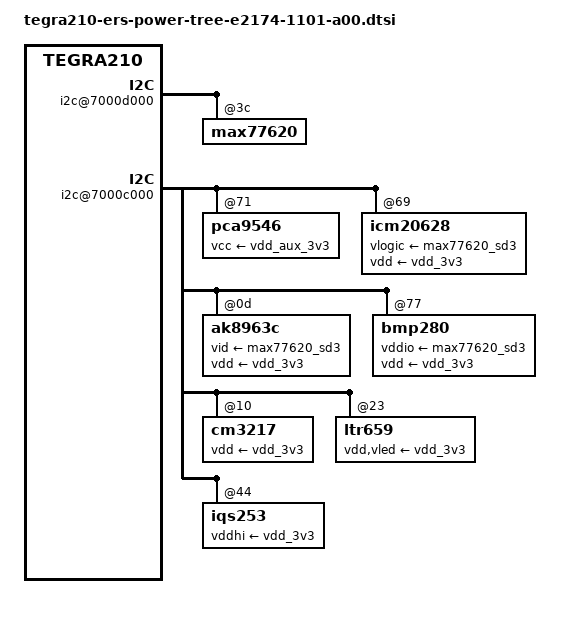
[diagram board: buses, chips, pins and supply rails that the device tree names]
/*
 * Copyright (c) 2014, NVIDIA CORPORATION.  All rights reserved.
 *
 * This program is free software; you can redistribute it and/or modify
 * it under the terms of the GNU General Public License as published by
 * the Free Software Foundation; either version 2 of the License, or
 * (at your option) any later version.
 *
 * This program is distributed in the hope that it will be useful, but WITHOUT
 * ANY WARRANTY; without even the implied warranty of MERCHANTABILITY or
 * FITNESS FOR A PARTICULAR PURPOSE.  See the GNU General Public License for
 * more details.
 *
 * You should have received a copy of the GNU General Public License along
 * with this program; if not, write to the Free Software Foundation, Inc.,
 * 51 Franklin Street, Fifth Floor, Boston, MA  02110-1301, USA.
 */

#include "tegra210-ers-pmic-e2174-1101-a00.dtsi"
#include "tegra210-ers-fixed-e2174-1101-a00.dtsi"
#include "tegra210-ers-power-dvfs-e2174-1101-a00.dtsi"

/ {
	i2c@7000d000 {
		max77620@3c {
			regulators {
				sd0 {
					regulator-enable-ramp-delay = <120>;
					regulator-disable-ramp-delay = <1720>;
					regulator-ramp-delay = <27500>;
					regulator-ramp-delay-scale = <400>;
				};

				sd1 {
					regulator-enable-ramp-delay = <120>;
					regulator-disable-ramp-delay = <29200>;
					regulator-ramp-delay = <27500>;
					regulator-ramp-delay-scale = <400>;
				};

				sd2 {
					regulator-enable-ramp-delay = <164>;
					regulator-disable-ramp-delay = <7320>;
					regulator-ramp-delay = <27500>;
					regulator-ramp-delay-scale = <400>;
				};

				sd3 {
					regulator-enable-ramp-delay = <204>;
					regulator-disable-ramp-delay = <58000>;
					regulator-ramp-delay = <27500>;
					regulator-ramp-delay-scale = <400>;
				};

				ldo0 {
					regulator-enable-ramp-delay = <88>;
					regulator-disable-ramp-delay = <4480>;
					regulator-ramp-delay = <100000>;
					regulator-ramp-delay-scale = <800>;
				};

				ldo1 {
					regulator-enable-ramp-delay = <96>;
					regulator-disable-ramp-delay = <3160>;
					regulator-ramp-delay = <100000>;
					regulator-ramp-delay-scale = <1050>;
				};

				ldo2 {
					regulator-enable-ramp-delay = <124>;
					regulator-disable-ramp-delay = <5160>;
					regulator-ramp-delay = <100000>;
					regulator-ramp-delay-scale = <800>;
				};

				ldo3 {
					regulator-enable-ramp-delay = <56>;
					regulator-disable-ramp-delay = <788>;
					regulator-ramp-delay = <100000>;
					regulator-ramp-delay-scale = <200>;
				};

				ldo4 {
					regulator-enable-ramp-delay = <18>;
					regulator-disable-ramp-delay = <568>;
					regulator-ramp-delay = <100000>;
					regulator-ramp-delay-scale = <200>;
				};

				ldo5 {
					regulator-enable-ramp-delay = <300>;
					regulator-disable-ramp-delay = <7360>;
					regulator-ramp-delay = <100000>;
					regulator-ramp-delay-scale = <1100>;
				};

				ldo6 {
					regulator-enable-ramp-delay = <204>;
					regulator-disable-ramp-delay = <4720>;
					regulator-ramp-delay = <100000>;
					regulator-ramp-delay-scale = <800>;
				};

				ldo7 {
					regulator-enable-ramp-delay = <112>;
					regulator-disable-ramp-delay = <11720>;
					regulator-ramp-delay = <100000>;
					regulator-ramp-delay-scale = <1100>;
				};

				ldo8 {
					regulator-enable-ramp-delay = <48>;
					regulator-disable-ramp-delay = <6160>;
					regulator-ramp-delay = <100000>;
					regulator-ramp-delay-scale = <500>;
				};
			};
		};
	};

	efuse@7000f800 {
		vpp_fuse-supply = <&max77620_sd3>;
	};

	host1x {
		/* tegradc.0 */
		dc@54200000 {
			avdd_dsi_csi-supply = <&max77620_gpio7>;
			avdd_lcd-supply = <&max77620_gpio7>;
			dvdd_lcd-supply = <&max77620_sd3>;
			vdd_lcd_bl_en-supply = <&lcd_bl_en>;
			vdd_lcd_bl-supply = <&battery_reg>;
			vdd_ds_1v8-supply = <&battery_reg>;
		};
		/* tegradc.1 */
		dc@54240000 {
			avdd_hdmi-supply = <&max77620_ldo8>;
			avdd_hdmi_pll-supply = <&max77620_sd3>;
			vdd_hdmi_5v0-supply = <&vdd_hdmi>;
			vdd_lcd_bl-supply = <&battery_reg>;
			vdd_ds_1v8-supply = <&battery_reg>;
		};
		vi {
			avdd_dsi_csi-supply = <&max77620_gpio7>;
		};
	};

	i2c@7000c000 {
		pca9546@71 {
			vcc-supply = <&vdd_aux_3v3>;
		};

		icm20628@69 {
			vlogic-supply = <&max77620_sd3>;
			vdd-supply = <&vdd_3v3>;
		};

		ak8963c@0d {
			vid-supply = <&max77620_sd3>;
			vdd-supply = <&vdd_3v3>;
		};

		bmp280@77 {
			vddio-supply = <&max77620_sd3>;
			vdd-supply = <&vdd_3v3>;
		};

		cm3217@10 {
			vdd-supply = <&vdd_3v3>;
		};

		ltr659@23 {
			vdd-supply = <&vdd_3v3>;
			vled-supply = <&vdd_3v3>;
		};

		iqs253@44 {
			vddhi-supply = <&vdd_3v3>;
		};
	};

	xusb@70090000 {
		usb_vbus0-supply = <&usb0_vbus>;
		usb_vbus1-supply = <&vdd_usb_5v0>;
		usb_vbus2-supply = <&vdd_usb_5v0>;
		usb_vbus3-supply = <&vdd_usb_5v0>;
		hvdd_usb-supply = <&vdd_3v3>;
		avdd_pll_utmip-supply = <&max77620_sd3>;
		vddio_hsic-supply = <&max77620_ldo0>;
		avddio_usb-supply = <&max77620_ldo1>;
		dvdd_sata-supply = <&max77620_ldo8>;
	};

	xudc@700d0000 {
		usb_vbus0-supply = <&usb0_vbus>;
		hvdd_usb-supply = <&vdd_3v3>;
		avdd_pll_utmip-supply = <&max77620_sd3>;
		avddio_usb-supply = <&max77620_ldo1>;
	};

        sata@70020000 {
		dvdd_sata_pll-supply = <&max77620_ldo8>;
		hvdd_sata-supply = <&max77620_sd3>;
		l0_hvddio_sata-supply = <&max77620_sd3>;
		l0_dvddio_sata-supply = <&max77620_ldo8>;
		hvdd_pex_pll_e-supply = <&max77620_sd3>;
        };

	sound {
		ldoen-supply = <&vdd_cdc_1v2_aud>;
		spkvdd-supply = <&vdd_sys_boost>;
		dbvdd-supply = <&max77620_sd3>;
		avdd-supply = <&max77620_sd3>;
		dmicvdd-supply = <&max77620_sd3>;
	};

	power-detect {
		pwrdet-sdmmc1-supply = <&max77620_sd3>;
		pwrdet-sdmmc4-supply = <&max77620_sd3>;
		pwrdet-audio-supply = <&max77620_sd3>;
		pwrdet-uart-supply = <&max77620_sd3>;
		pwrdet-sdmmc3-supply = <&max77620_ldo2>;
		pwrdet-nand-supply = <&max77620_sd3>;
		pwrdet-cam-supply = <&max77620_sd3>;
		pwrdet-bb-supply = <&max77620_sd3>;
		pwrdet-mipi-supply = <&max77620_ldo0>;
		pwrdet-hv-supply = <&vdd_hdmi>;
		pwrdet-pex-ctl-supply = <&max77620_ldo1>;
	};

	udc@7d000000 {
		avdd_usb-supply = <&vdd_3v3>;
		avdd_pll_utmip-supply = <&max77620_sd3>;
		usb_bat_chg-supply = <&battery_charger>;
	};

	otg@7d000000 {
		usb_vbus-supply = <&usb0_vbus>;
	};

	bluedroid_pm {
		avdd-supply = <&battery_reg>;
		dvdd-supply = <&max77620_sd3>;
	};

	regulators {
		vdd_usb_5v0: regulator@11 {
			status = "okay";
			gpio = <&pca9539_76 6 0>;
		};

		vdd_cdc_1v2_aud: regulator@101 {
			status = "okay";
			gpio = <&pca9539_76 9 0>;
		};
	};
};
